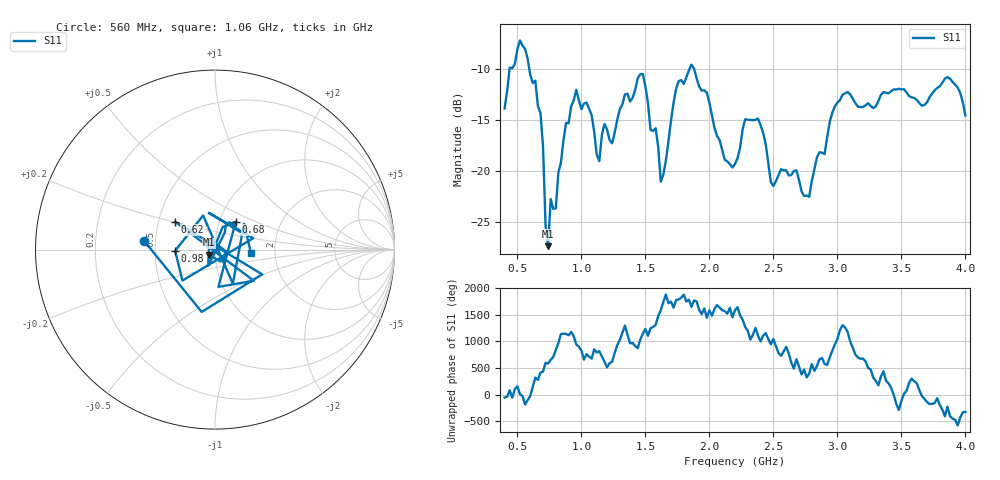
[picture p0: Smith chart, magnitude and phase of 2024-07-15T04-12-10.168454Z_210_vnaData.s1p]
!Created with skrf (http://scikit-rf.org).
# Hz S RI R 50.0
!freq ReS11 ImS11
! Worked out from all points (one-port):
!   181 points, 400 MHz to 4 GHz, reference 50 ohm
!   lowest |S11| = -27.3 dB at 740 MHz (marker M1), VSWR 1.09, Z = 46.8 - j2.73 ohm
!   |S11| at or under -10 dB: start of sweep to 438.7 MHz; 592.9 MHz to 1.844 GHz (1.251 GHz wide, 103 % of centre); 1.881 GHz to end of sweep
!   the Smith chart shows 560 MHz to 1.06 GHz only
!   S11 on the Smith chart (normalised r, x): 560 MHz: 0.43, +0.05; 620 MHz: 0.61, +0.20; 680 MHz: 1.19, +0.38; 980 MHz: 0.64, -0.01; 1.06 GHz: 1.50, -0.07
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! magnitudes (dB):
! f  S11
! 400 MHz  -13.9
! 440 MHz  -9.9
! 560 MHz  -8.0
! 620 MHz  -11.4
! 680 MHz  -14.3
! 740 MHz  -27.3
! 760 MHz  -22.7
! 800 MHz  -23.6
! 860 MHz  -17.0
! 980 MHz  -13.1
! 1.06 GHz  -13.9
! 1.14 GHz  -19.0
! 1.3 GHz  -13.9
! 1.48 GHz  -10.5
! 1.62 GHz  -21.0
! 1.76 GHz  -11.2
! 1.86 GHz  -9.6
! 2.2 GHz  -19.3
! 2.28 GHz  -14.9
! 2.38 GHz  -14.8
! 2.5 GHz  -21.4
! 2.66 GHz  -20.0
! 2.78 GHz  -22.5
! 2.96 GHz  -14.3
! 3.1 GHz  -12.5
! 3.56 GHz  -12.6
! 3.86 GHz  -10.8
! 4 GHz  -14.5
